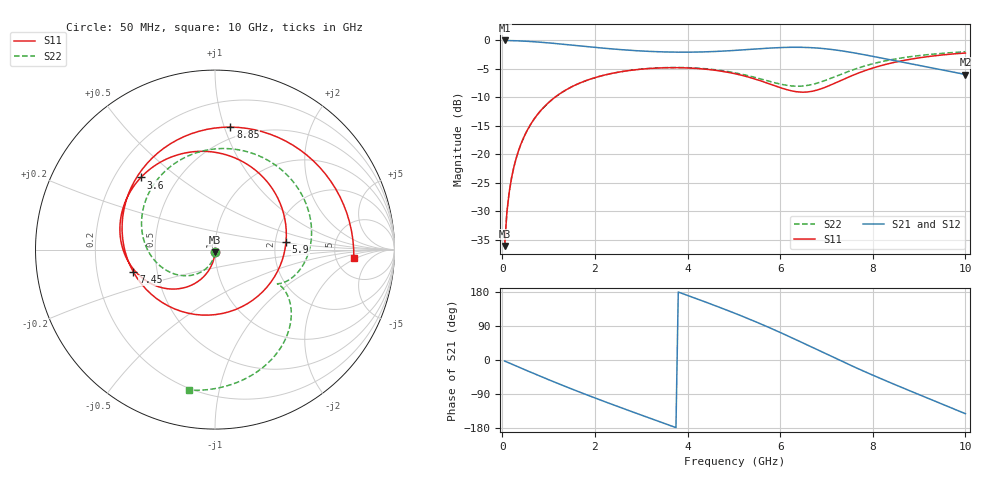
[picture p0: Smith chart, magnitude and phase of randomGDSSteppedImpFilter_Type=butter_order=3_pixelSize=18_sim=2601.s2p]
! freq	dB(S11)	phase(S11)	dB(S12)	phase(S12)
!  dB(S21)	phase(S21)	dB(S22)	phase(S22)
!S-par simulation data
#  GHz  S  DB  R 50
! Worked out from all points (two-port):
!   200 points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, 50 MHz to 10 GHz, reference 50 ohm
!   highest |S21| = -0.01 dB at 50 MHz (marker M1); lowest = -6.0 dB at 10 GHz (marker M2)
!   |S21| within 3 dB of the highest: start of sweep to 8.132 GHz
!   lowest |S11| = -36.1 dB at 50 MHz (marker M3), VSWR 1.03, Z = 49.9 - j1.56 ohm
!   |S11| at or under -10 dB: start of sweep to 1.134 GHz
!   |S22| runs from -36.1 to -2.0 dB; largest |S21 - S12| = 0
!   S11 on the Smith chart (normalised r, x): 50 MHz: 1.00, -0.03; 3.6 GHz: 0.31, +0.37; 5.9 GHz: 2.29, +0.23; 7.45 GHz: 0.36, -0.12; 8.85 GHz: 0.40, +1.05; 10 GHz: 7.46, -1.77
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0.05  -36.12 -92.0  -0.01 -2.7  -0.01 -2.7  -36.13 -93.2
0.1  -30.11 -94.2  -0.01 -5.3  -0.01 -5.3  -30.12 -96.6
0.2  -24.14 -98.5  -0.03 -10.6  -0.03 -10.6  -24.15 -103.3
0.5  -16.40 -111.0  -0.14 -26.3  -0.14 -26.3  -16.41 -122.7
1.15  -9.90 -136.6  -0.54 -59.4  -0.54 -59.4  -9.91 -163.5
1.75  -7.23 -158.7  -1.02 -88.4  -1.02 -88.4  -7.24 160.5
2.65  -5.39 169.9  -1.67 -129.7  -1.67 -129.7  -5.38 109.5
3.4  -4.83 143.2  -2.00 -163.0  -2.00 -163.0  -4.81 69.9
3.6  -4.79 135.8  -2.04 -171.8  -2.04 -171.8  -4.76 59.9
4.35  -5.02 104.9  -2.01 154.7  -2.01 154.7  -4.94 24.6
5.05  -5.89 69.0  -1.74 121.9  -1.74 121.9  -5.73 -3.6
5.9  -8.01 6.1  -1.29 78.2  -1.29 78.2  -7.47 -25.8
6.3  -8.94 -35.7  -1.20 56.0  -1.20 56.0  -8.03 -28.6
6.7  -8.91 -83.4  -1.28 32.9  -1.28 32.9  -7.72 -28.8
7.05  -7.97 -124.0  -1.53 12.7  -1.53 12.7  -6.79 -30.8
7.45  -6.53 -164.6  -1.98 -10.1  -1.98 -10.1  -5.52 -37.1
7.9  -5.11 156.0  -2.64 -34.7  -2.64 -34.7  -4.32 -47.4
8.35  -4.07 120.4  -3.35 -58.3  -3.35 -58.3  -3.46 -59.0
8.85  -3.25 82.8  -4.14 -83.8  -4.14 -83.8  -2.81 -72.0
9.35  -2.68 45.7  -4.92 -108.9  -4.92 -108.9  -2.37 -84.6
9.7  -2.40 19.4  -5.48 -126.5  -5.48 -126.5  -2.14 -93.2
10  -2.21 -3.5  -5.99 -141.7  -5.99 -141.7  -1.98 -100.4
